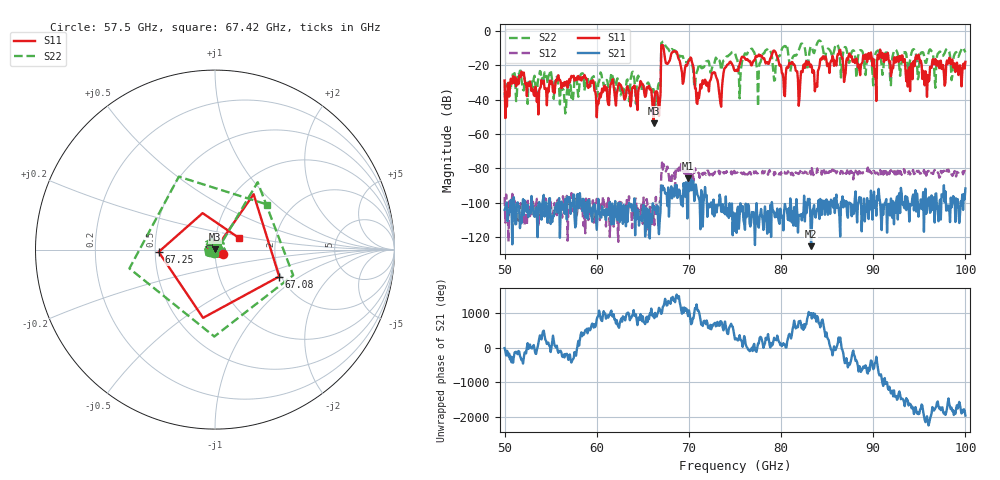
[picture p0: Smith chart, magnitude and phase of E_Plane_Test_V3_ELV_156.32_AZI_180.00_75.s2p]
! 11/26/2026 4:49:59 PM
! C:\ANRITSUVNA\TEMP\TEMP.S2P
! CHANNEL.1
! TR.MEASUREMENT
! RAW.DATA
# HZ S RI R 50.0
! FREQ.HZ  S11RE  S11IM  S21RE  S21IM  S12RE  S12IM  S22RE  S22IM
!; PortSelection: Port_12
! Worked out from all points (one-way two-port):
!   601 points, 50 GHz to 100 GHz, reference 50 ohm
!   highest |S21| = -85.80 dB at 69.92 GHz (marker M1); lowest = -125.4 dB at 83.25 GHz (marker M2)
!   lowest |S11| = -53.7 dB at 66.17 GHz (marker M3), VSWR 1.00, Z = 50.1 + j0.151 ohm
!   |S11| at or under -10 dB: start of sweep to 67 GHz; 67.25 GHz to end of sweep
!   |S22| runs from -48.1 to -5.6 dB; largest |S21 - S12| = 0.00014
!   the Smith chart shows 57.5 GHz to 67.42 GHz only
!   S11 on the Smith chart (normalised r, x): 57.5 GHz: 1.09, -0.05; 67.08 GHz: 1.95, -0.69; 67.25 GHz: 0.52, -0.01; 67.42 GHz: 1.29, +0.17
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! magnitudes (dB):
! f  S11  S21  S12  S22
! 50 GHz  -28.9  -104.2  -96.9  -35.8
! 51.67 GHz  -26.2  -114.9  -111.6  -23.2
! 53.42 GHz  -34.7  -102.8  -101.1  -35.2
! 57.5 GHz  -26.1  -95.2  -101.2  -34.6
! 58.42 GHz  -27.1  -104.9  -98.0  -24.7
! 60.17 GHz  -42.7  -97.8  -101.0  -30.4
! 66.17 GHz  -53.7  -103.3  -108.6  -34.0
! 66.67 GHz  -41.5  -112.4  -106.1  -31.6
! 67.08 GHz  -8.2  -92.8  -76.7  -6.8
! 67.25 GHz  -10.1  -92.5  -77.7  -6.2
! 67.42 GHz  -16.6  -94.7  -80.3  -8.3
! 69.92 GHz  -17.9  -85.8  -83.9  -17.3
! 70.92 GHz  -42.5  -95.5  -82.0  -23.1
! 75 GHz  -23.3  -111.0  -82.9  -13.0
! 77.58 GHz  -13.8  -114.6  -82.4  -22.0
! 83.25 GHz  -19.7  -125.4  -83.6  -9.0
! 83.42 GHz  -24.4  -104.1  -82.0  -10.8
! 91.67 GHz  -16.6  -100.8  -81.0  -15.2
! 93.75 GHz  -32.5  -98.9  -83.2  -21.3
! 94.83 GHz  -15.1  -99.6  -81.9  -28.2
! 95.83 GHz  -38.4  -104.5  -82.3  -16.6
! 100 GHz  -18.0  -91.7  -81.9  -12.5
